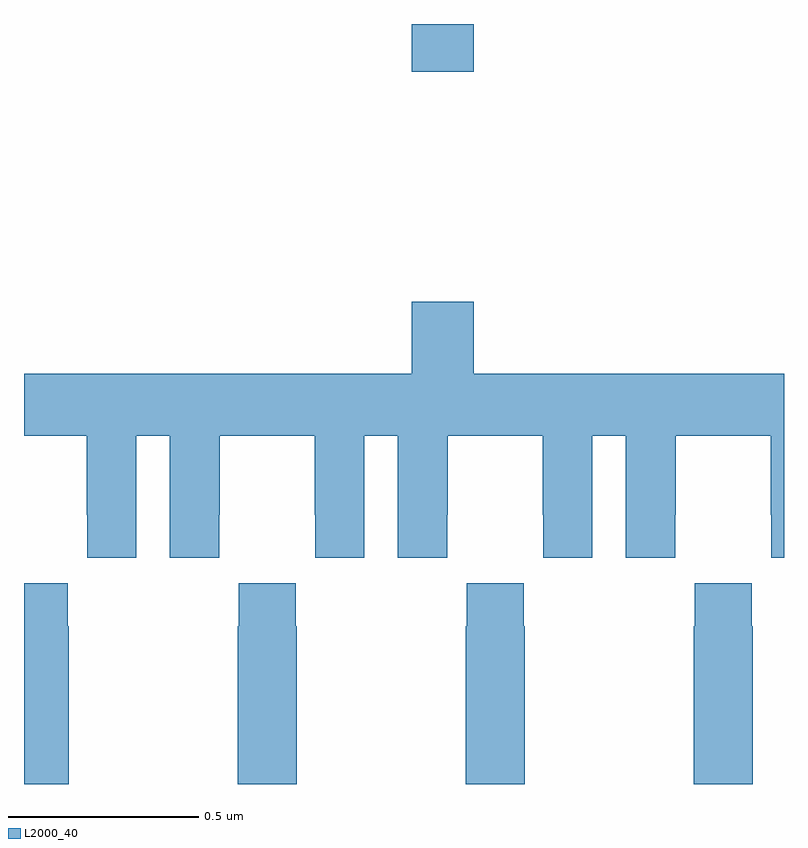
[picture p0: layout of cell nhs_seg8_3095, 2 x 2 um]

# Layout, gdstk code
import gdstk
lib = gdstk.Library(unit=1e-6, precision=1e-09)
def R(c, l, rs):  # rectangles x0, y0, x1, y1
    for r in rs: c.add(gdstk.rectangle(r[:2], r[2:], *l))
def P(c, l, *ps):  # polygons
    for p in ps: c.add(gdstk.Polygon(p, *l))
L2000_40 = (2000, 40)

nhs_seg8_3095 = lib.new_cell('nhs_seg8_3095')
R(nhs_seg8_3095, L2000_40, [(153.02,1134.774,153.184,1134.9)])
P(nhs_seg8_3095, L2000_40, [(152.296,1133.816),(152.384,1133.816),(152.384,1133.496),(152.514,1133.496),(152.514,1133.608),(152.515,1133.608),(152.515,1133.816),(152.765,1133.816),(152.765,1133.608),(152.766,1133.608),(152.766,1133.496),(152.896,1133.496),(152.896,1133.816),(152.984,1133.816),(152.984,1133.496),(153.114,1133.496),(153.114,1133.608),(153.115,1133.608),(153.115,1133.816),(153.365,1133.816),(153.365,1133.608),(153.366,1133.608),(153.366,1133.496),(153.496,1133.496),(153.496,1133.816),(153.584,1133.816),(153.584,1133.496),(153.714,1133.496),(153.714,1133.608),(153.715,1133.608),(153.715,1133.816),(153.965,1133.816),(153.965,1133.608),(153.966,1133.608),(153.966,1133.496),(154,1133.496),(154,1133.98),(153.184,1133.98),(153.184,1134.169),(153.02,1134.169),(153.02,1133.98),(152,1133.98),(152,1133.816),(152.165,1133.816),(152.165,1133.608),(152.166,1133.608),(152.166,1133.496),(152.296,1133.496)],
  [(152.718,1133.315),(152.715,1133.315),(152.715,1133.428),(152.565,1133.428),(152.565,1133.315),(152.563,1133.315),(152.563,1132.9),(152.718,1132.9)],
  [(153.318,1133.315),(153.315,1133.315),(153.315,1133.428),(153.165,1133.428),(153.165,1133.315),(153.163,1133.315),(153.163,1132.9),(153.318,1132.9)],
  [(153.918,1133.315),(153.915,1133.315),(153.915,1133.428),(153.765,1133.428),(153.765,1133.315),(153.763,1133.315),(153.763,1132.9),(153.918,1132.9)],
  [(152.118,1133.315),(152.115,1133.315),(152.115,1133.428),(152,1133.428),(152,1132.9),(152.118,1132.9)])

lib.write_gds('nhs_seg8_3095.gds')
